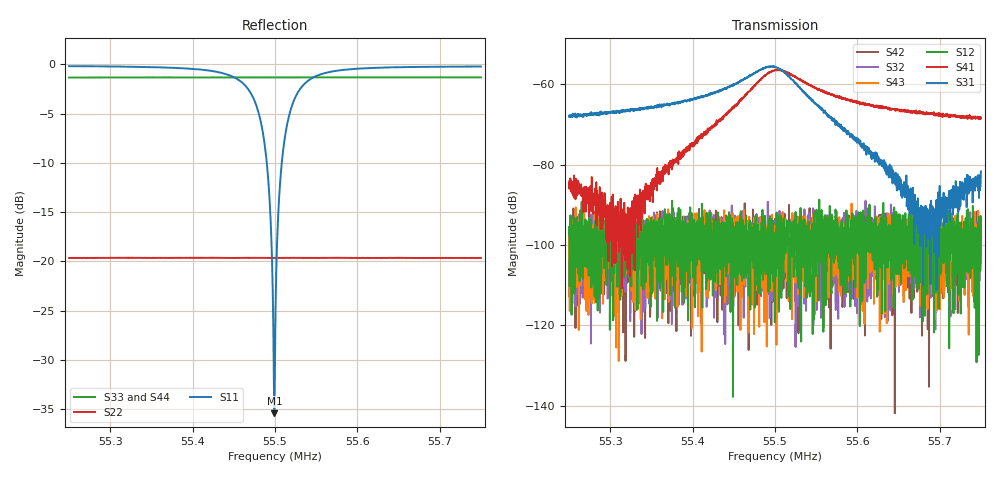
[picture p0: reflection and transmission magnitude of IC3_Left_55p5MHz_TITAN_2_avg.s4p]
#  HZ  S  DB  R  50.00
! Rohde & Schwarz Vector Network Analyzer
! Rohde-Schwarz,ZNB8-4Port,1311601044102961,2.82
! Created: UTC 2/5/2019, 1:42:23 PM
! freq[Hz]  db:S11  ang:S11  db:S12  ang:S12  db:S13  ang:S13  db:S14  ang:S14
!  db:S21  ang:S21  db:S22  ang:S22  db:S23  ang:S23  db:S24  ang:S24
!  db:S31  ang:S31  db:S32  ang:S32  db:S33  ang:S33  db:S34  ang:S34
!  db:S41  ang:S41  db:S42  ang:S42  db:S43  ang:S43  db:S44  ang:S44
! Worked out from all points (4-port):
!   2001 points, 55.25 MHz to 55.75 MHz, reference 50 ohm
!   strongest paths, dB at 55.25 MHz, 55.375 MHz, 55.5 MHz, 55.625 MHz, 55.75 MHz:
!     S31: -68.1, -64.9, -55.7, -78.3, -81.7
!     S41: -84.2, -79.0, -56.5, -65.3, -68.4
!     S12: -97.1, -89.0, -103.7, -95.6, -99.1
!     S43: -98.1, -110.1, -109.4, -99.0, -104.4
!     S32: -98.8, -96.4, -99.4, -99.4, -101.1
!     S42: -108.2, -102.9, -93.5, -105.0, -101.3
!   lowest |S11| = -35.4 dB at 55.4993 MHz (marker M1), VSWR 1.03, Z = 49.9 - j1.68 ohm
!   |S11| at or under -10 dB: 55.49002 MHz to 55.50821 MHz (18.19 kHz wide, 0.0328 % of centre)
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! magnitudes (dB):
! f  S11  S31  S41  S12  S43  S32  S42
! 55.25 MHz  -0.2  -68.1  -84.2  -97.1  -98.1  -98.8  -108.2
! 55.4663 MHz  -2.4  -58.3  -62.2  -101.7  -99.0  -108.3  -97.8
! 55.4993 MHz  -35.4  -55.6  -56.5  -105.0  -104.3  -94.0  -101.5
! 55.5095 MHz  -9.0  -56.7  -56.7  -101.5  -98.6  -101.4  -93.0
! 55.532 MHz  -2.3  -61.3  -59.0  -93.8  -109.2  -99.0  -96.3
! 55.6302 MHz  -0.3  -80.0  -66.0  -95.7  -101.9  -101.9  -94.0
! 55.75 MHz  -0.2  -81.7  -68.4  -99.1  -104.4  -101.1  -101.3
